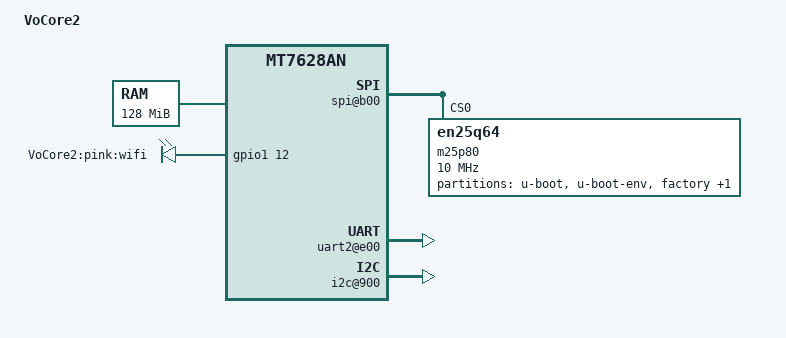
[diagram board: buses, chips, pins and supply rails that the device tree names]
/dts-v1/;

/include/ "mt7628an.dtsi"

/ {
	compatible = "VoCore2", "mediatek,mt7628an-soc";
	model = "VoCore2";
	
	memory@0 {
		device_type = "memory";
		reg = <0x0 0x8000000>;
	};

	gpio-leds {
		compatible = "gpio-leds";

		wifiled {
			label = "VoCore2:pink:wifi";
			gpios = <&gpio1 12 0>;
		};
	};

	chosen {
		bootargs = "console=ttyS0,115200";
	};

	pinctrl {
		state_default: pinctrl0 {
			spi_cs1 {
				ralink,group = "spi cs1";
				ralink,function = "gpio";
			};

			uartlite {
				ralink,group = "uart0";
				ralink,function = "gpio";
			};

			uart1 {
				ralink,group = "uart1";
				ralink,function = "gpio";
			};

			uart2 {
				ralink,group = "uart2";
				ralink,function = "gpio";
			};

			sdmode {
				ralink,group = "sdmode";
				ralink,function = "gpio";
			};

			pwm0 {
				ralink,group = "pwm0";
				ralink,function = "gpio";
			};

			pwm1 {
				ralink,group = "pwm1";
				ralink,function = "gpio";
			};

			i2s {
				ralink,group = "i2s";
				ralink,function = "gpio";
			};

			gpio0 {
				ralink,group = "gpio";
				ralink,function = "gpio";
			};

			wdt {
				ralink,group = "wdt";
				ralink,function = "gpio";
			};

			refclk {
				ralink,group = "refclk";
				ralink,function = "gpio";
			};

			agpio {
				ralink,group = "agpio";
				ralink,function = "uart2";
			};

			led4 {
				ralink,group = "p4led_an";
				ralink,function = "gpio";
			};

			led3 {
				ralink,group = "p3led_an";
				ralink,function = "gpio";
			};

			led2 {
				ralink,group = "p2led_an";
				ralink,function = "gpio";
			};

			led1 {
				ralink,group = "p1led_an";
				ralink,function = "gpio";
			};

			led0 {
				ralink,group = "p0led_an";
				ralink,function = "gpio";
			};
		};
	};

	palmbus@10000000 {
		spi@b00 {
			status = "okay";

			m25p80@0 {
				#address-cells = <1>;
				#size-cells = <1>;
				compatible = "en25q64";
				reg = <0 0>;
				linux,modalias = "m25p80", "en25q64";
				spi-max-frequency = <10000000>;
				m25p,chunked-io = <32>;

				partition@0 {
					label = "u-boot";
					reg = <0x0 0x30000>;
					read-only;
				};

				partition@30000 {
					label = "u-boot-env";
					reg = <0x30000 0x10000>;
				};

				factory: partition@40000 {
					label = "factory";
					reg = <0x40000 0x10000>;
					read-only;
				};

				partition@50000 {
					label = "firmware";
					reg = <0x50000 0xfb0000>;
				};
			};

		};
		i2s: i2s@a00 {
			compatible = "mediatek,mt7628-i2s";
			status = "disabled";
		};
		uartlite@c00 {
			status = "disabled";
		};
		uart1@d00 {
			status = "disabled";
		};
		uart2@e00 {
			status = "okay";
		};
		gdma@2800 {
			compatible = "mediatek,mt7628-gdma";
			status = "okay";
		};
		i2c@900 {
			status = "okay";
		};
	};

/*	i2c-gpio {
		compatible = "i2c-gpio";

		gpios = <&gpio0 5 0 &gpio0 4 0>;
		i2c-gpio,delay-us = <5>;

        };*/

	sdhci@10130000 {
		status = "disabled";
	};
};
